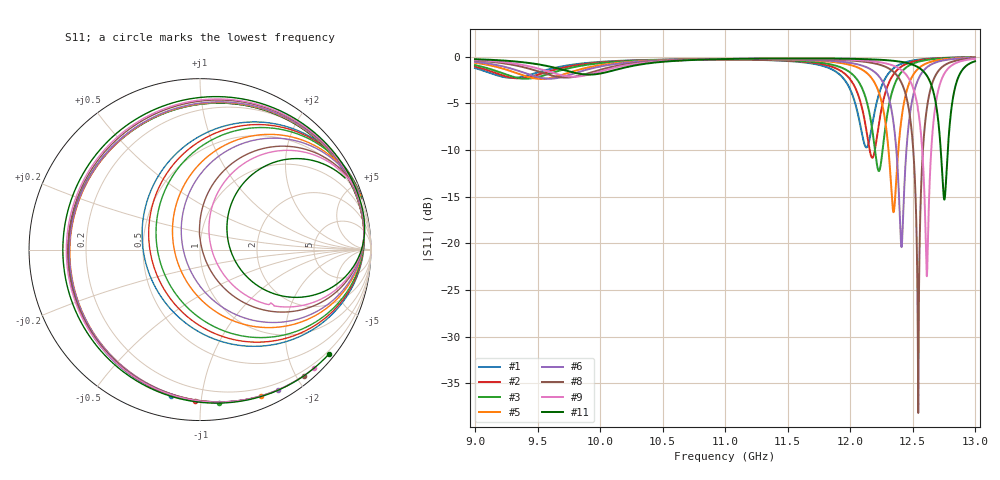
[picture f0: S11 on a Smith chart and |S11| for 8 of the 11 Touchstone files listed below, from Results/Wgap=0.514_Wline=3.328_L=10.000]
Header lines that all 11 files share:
! TOUCHSTONE file generated by CST DESIGN STUDIO
! Project name: C:\Work\MatlabApps\UnitCellOptimizationMatlab\CST\unitcell.cst
! Tree item: Tasks\Sweep1\SPara1\S-Parameters
! Header version: 2024
! Port assignment regex: !\s*Touchstone port\s*([0-9]+)\s*=\s*(CST MWS port|CST DES external port|CST DES block port)\s*(.+)\s* \(\"(.*)\"\)(\s*mode\s*([0-9]+))?.*
! Touchstone port assignment:
! Touchstone port 1 = CST DES external port 1 ("")
# GHz S MA R 50
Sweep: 9 GHz to 13 GHz
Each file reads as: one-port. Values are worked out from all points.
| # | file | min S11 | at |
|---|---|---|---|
| 1 | DS_for_MWS-run-0001.s1p | -9.7 dB | 12.13 GHz |
| 2 | DS_for_MWS-run-0002.s1p | -10.8 dB | 12.18 GHz |
| 3 | DS_for_MWS-run-0003.s1p | -12.3 dB | 12.23 GHz |
| 4 | DS_for_MWS-run-0004.s1p | -14.1 dB | 12.29 GHz |
| 5 | DS_for_MWS-run-0005.s1p | -16.7 dB | 12.35 GHz |
| 6 | DS_for_MWS-run-0006.s1p | -20.4 dB | 12.41 GHz |
| 7 | DS_for_MWS-run-0007.s1p | -27.5 dB | 12.48 GHz |
| 8 | DS_for_MWS-run-0008.s1p | -38.2 dB | 12.55 GHz |
| 9 | DS_for_MWS-run-0009.s1p | -23.5 dB | 12.62 GHz |
| 10 | DS_for_MWS-run-0010.s1p | -18.4 dB | 12.69 GHz |
| 11 | DS_for_MWS-run-0011.s1p | -15.3 dB | 12.76 GHz |
